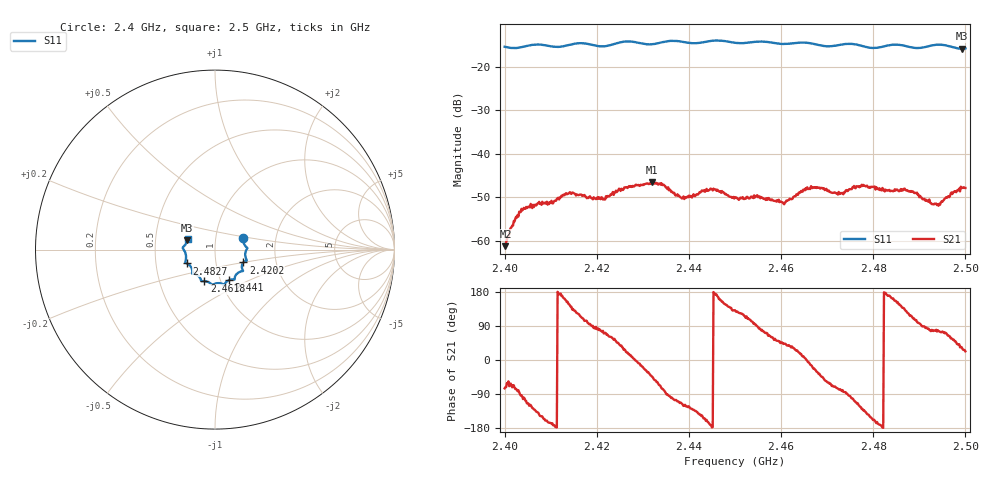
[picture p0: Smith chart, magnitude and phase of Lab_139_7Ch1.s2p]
# Hz S RI R 50
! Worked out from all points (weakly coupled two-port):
!   601 points, 2.4 GHz to 2.5 GHz, reference 50 ohm
!   highest |S21| = -46.58 dB at 2.432 GHz (marker M1); lowest = -61.3 dB at 2.4002 GHz (marker M2)
!   lowest |S11| = -15.8 dB at 2.4993 GHz (marker M3), VSWR 1.39, Z = 36.5 + j3.82 ohm
!   |S11| at or under -10 dB: start of sweep to end of sweep
!   S12 and S22 are empty: the file has one direction only
!   S11 on the Smith chart (normalised r, x): 2.4 GHz: 1.36, +0.18; 2.4202 GHz: 1.36, -0.20; 2.441 GHz: 1.10, -0.39; 2.4618 GHz: 0.84, -0.30; 2.4827 GHz: 0.72, -0.12; 2.5 GHz: 0.73, +0.09
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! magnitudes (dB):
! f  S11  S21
! 2.4 GHz  -15.4  -61.1
! 2.4002 GHz  -15.4  -61.3
! 2.4023 GHz  -15.7  -54.9
! 2.4042 GHz  -15.3  -52.4
! 2.4137 GHz  -15.0  -49.2
! 2.4167 GHz  -14.5  -49.4
! 2.4202 GHz  -15.2  -50.0
! 2.432 GHz  -14.8  -46.6
! 2.4333 GHz  -14.5  -47.1
! 2.4385 GHz  -14.2  -50.3
! 2.441 GHz  -14.6  -49.3
! 2.4452 GHz  -14.0  -48.4
! 2.45 GHz  -14.4  -49.9
! 2.4618 GHz  -14.6  -50.4
! 2.4667 GHz  -14.6  -47.8
! 2.4725 GHz  -15.0  -48.8
! 2.4827 GHz  -15.2  -48.2
! 2.4833 GHz  -15.0  -48.4
! 2.4872 GHz  -15.2  -48.5
! 2.494 GHz  -14.9  -51.7
! 2.4993 GHz  -15.8  -47.8
! 2.5 GHz  -15.7  -47.9
